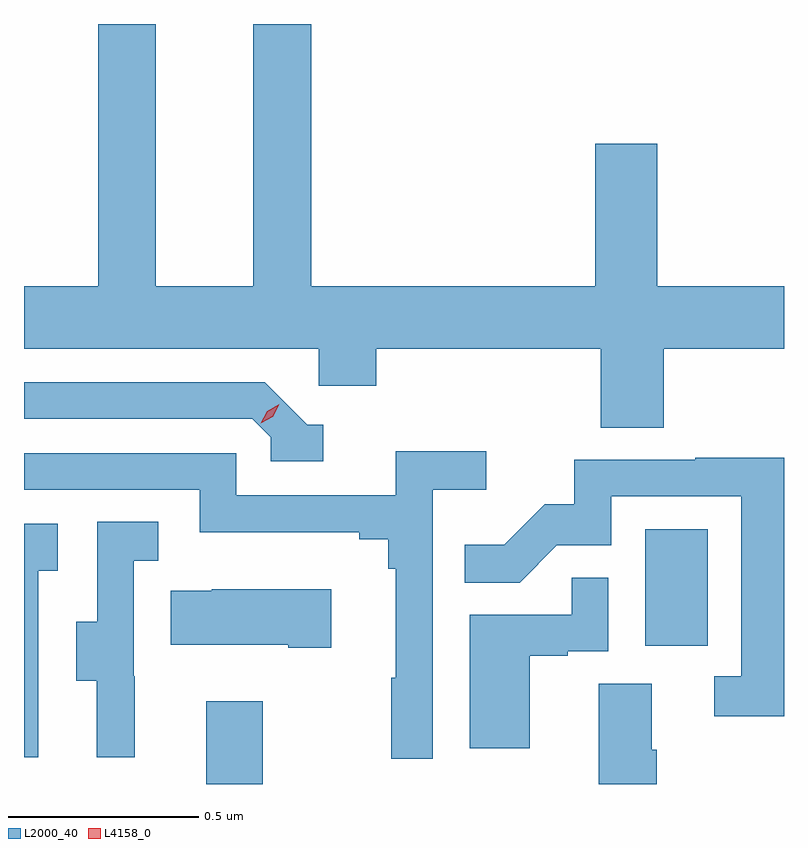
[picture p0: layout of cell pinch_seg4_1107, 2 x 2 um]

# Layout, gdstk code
import gdstk
lib = gdstk.Library(unit=1e-6, precision=1e-09)
def R(c, l, rs):  # rectangles x0, y0, x1, y1
    for r in rs: c.add(gdstk.rectangle(r[:2], r[2:], *l))
def P(c, l, *ps):  # polygons
    for p in ps: c.add(gdstk.Polygon(p, *l))
L2000_40 = (2000, 40)
L4158_0 = (4158, 0)

pinch_seg4_1107 = lib.new_cell('pinch_seg4_1107')
R(pinch_seg4_1107, L2000_40, [(835.313,753.05,835.461,753.268), (836.468,753.414,836.632,753.721)])
P(pinch_seg4_1107, L2000_40, [(836.336,754.36),(835.589,754.36),(835.589,755.05),(835.436,755.05),(835.436,754.36),(835.18,754.36),(835.18,755.05),(835.028,755.05),(835.028,754.36),(834.833,754.36),(834.833,754.196),(835.608,754.196),(835.608,754.098),(835.76,754.098),(835.76,754.196),(836.351,754.196),(836.351,753.988),(836.516,753.988),(836.516,754.196),(836.833,754.196),(836.833,754.36),(836.5,754.36),(836.5,754.735),(836.336,754.735)],
  [(835.621,753.996),(835.578,753.996),(835.467,754.107),(834.833,754.107),(834.833,754.011),(835.434,754.011),(835.482,753.963),(835.482,753.9),(835.621,753.9)],
  [(835.908,753.824),(836.05,753.824),(836.05,753.926),(835.811,753.926),(835.811,753.81),(835.392,753.81),(835.392,753.921),(834.833,753.921),(834.833,753.825),(835.296,753.825),(835.296,753.713),(835.715,753.713),(835.715,753.694),(835.792,753.694),(835.792,753.617),(835.811,753.617),(835.811,753.329),(835.8,753.329),(835.8,753.117),(835.908,753.117)],
  [(836.833,753.908),(836.599,753.908),(836.599,753.903),(836.281,753.903),(836.281,753.786),(836.204,753.786),(836.097,753.679),(835.993,753.679),(835.993,753.58),(836.137,753.58),(836.235,753.678),(836.379,753.678),(836.379,753.807),(836.721,753.807),(836.721,753.333),(836.649,753.333),(836.649,753.228),(836.833,753.228)],
  [(835.124,753.333),(835.122,753.333),(835.122,753.637),(835.186,753.637),(835.186,753.74),(835.026,753.74),(835.026,753.477),(834.971,753.477),(834.971,753.322),(835.025,753.322),(835.025,753.12),(835.124,753.12)],
  [(834.87,753.611),(834.922,753.611),(834.922,753.735),(834.833,753.735),(834.833,753.12),(834.87,753.12)],
  [(836.164,753.387),(836.264,753.387),(836.264,753.399),(836.37,753.399),(836.37,753.593),(836.275,753.593),(836.275,753.495),(836.006,753.495),(836.006,753.144),(836.164,753.144)],
  [(835.642,753.562),(835.327,753.562),(835.327,753.559),(835.219,753.559),(835.219,753.416),(835.529,753.416),(835.529,753.409),(835.642,753.409)],
  [(836.498,753.14),(836.485,753.14),(836.485,753.314),(836.345,753.314),(836.345,753.05),(836.498,753.05)])
P(pinch_seg4_1107, L4158_0, [(835.456,753.999),(835.456,753.999),(835.473,754.031),(835.505,754.049),(835.505,754.049),(835.505,754.049),(835.488,754.017),(835.456,753.999)])

lib.write_gds('pinch_seg4_1107.gds')
